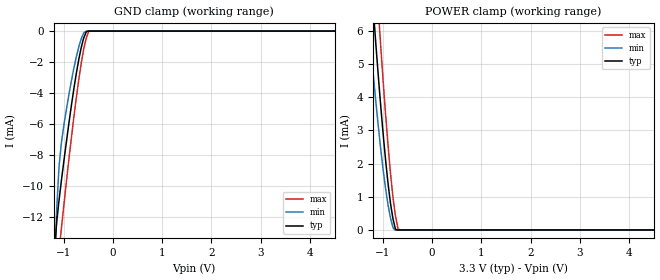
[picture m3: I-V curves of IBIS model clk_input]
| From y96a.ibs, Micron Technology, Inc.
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|   clk_input MODEL
[Model]   clk_input
Model_type   Input
Vinl = 800.000mV
Vinh = 2.000V
|   typ   min   max
C_comp   2.120pF   1.620pF   2.620pF
[Voltage Range]   3.300V   3.000V   3.600V
[Temperature Range]   25.0   85.0   0.0
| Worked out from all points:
|   GND clamp passes 1 mA (typ) near -0.64 V on its own axis
|   POWER clamp passes 1 mA (typ) near -0.86 V on its own axis
[GND Clamp]
|   Voltage   I(typ)   I(min)   I(max)
-3.3V     -457mA     -451.8mA   -476mA
-1.19V    -14.63mA   -16.36mA   -17.41mA
-1.15V    -12.7mA    -12.26mA   -16.04mA
-1.14V    -12.31mA   -11.45mA   NA
-1.1V     -11.1mA    -9.083mA   -14.43mA
-1.05V    -9.771mA   -7.35mA    NA
-900mV    -6.096mA   -4.222mA   NA
-740mV    -2.678mA   NA         NA
-640mV    -1.018mA   -464.3uA   -2.012mA
-540mV    -38.22uA   0A         -436.5uA
-500mV    0A         NA         NA
6.6V      0A         0A         0A
[POWER Clamp]
|   Voltage   I(typ)   I(min)   I(max)
-3.3V     60.78mA    51.03mA    70.93mA
-1.29V    8.665mA    6.266mA    11.4mA
-1.24V    7.595mA    5.417mA    NA
-1.19V    6.554mA    4.6mA      NA
-1.14V    5.552mA    NA         NA
-1.09V    4.588mA    NA         6.58mA
-1.05V    3.854mA    2.529mA    5.684mA
-890mV    1.341mA    714.4uA    2.465mA
-800mV    382uA      101.6uA    1.057mA
-750mV    56.57uA    0A         479.7uA
-700mV    0A         NA         89.33uA
6.6V      0A         0A         0A
